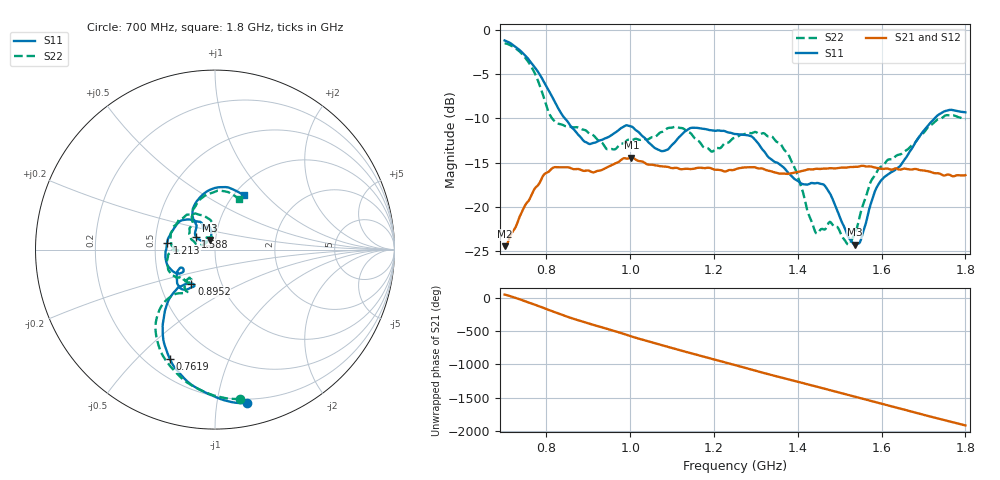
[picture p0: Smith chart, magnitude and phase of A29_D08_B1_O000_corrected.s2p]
! Created with skrf 1.9.0 (http://scikit-rf.org).
# Hz S RI R 50.0
!freq ReS11 ImS11 ReS21 ImS21 ReS12 ImS12 ReS22 ImS22
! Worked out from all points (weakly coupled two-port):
!   1601 points, 700 MHz to 1.8 GHz, reference 50 ohm
!   highest |S21| = -14.44 dB at 1.002 GHz (marker M1); lowest = -24.5 dB at 700 MHz (marker M2)
!   lowest |S11| = -24.3 dB at 1.536 GHz (marker M3), VSWR 1.13, Z = 46.9 + j5.02 ohm
!   |S11| at or under -10 dB: 843.9 MHz to 1.726 GHz (882.3 MHz wide, 68.7 % of centre)
!   |S22| runs from -24.3 to -1.5 dB; largest |S21 - S12| = 0.0036
!   S11 on the Smith chart (normalised r, x): 700 MHz: 0.17, -1.21; 761.9 MHz: 0.29, -0.63; 895.2 MHz: 0.72, -0.29; 1.213 GHz: 0.58, +0.05; 1.588 GHz: 0.80, +0.12; 1.8 GHz: 1.11, +0.76
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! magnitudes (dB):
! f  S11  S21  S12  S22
! 700 MHz  -1.2  -24.5  -24.2  -1.5
! 761.9 MHz  -3.6  -18.9  -18.9  -4.0
! 814.8 MHz  -7.7  -15.6  -15.7  -10.1
! 883.6 MHz  -12.2  -15.9  -15.8  -11.2
! 895.2 MHz  -12.7  -15.9  -16.0  -11.4
! 947.5 MHz  -12.1  -15.5  -15.5  -13.5
! 1.002 GHz  -10.9  -14.4  -14.5  -12.5
! 1.067 GHz  -13.6  -15.4  -15.3  -11.8
! 1.144 GHz  -11.1  -15.7  -15.7  -11.7
! 1.213 GHz  -11.4  -15.8  -15.8  -13.4
! 1.25 GHz  -11.8  -15.8  -15.7  -12.2
! 1.359 GHz  -15.3  -16.3  -16.2  -12.9
! 1.394 GHz  -16.9  -16.1  -16.1  -15.8
! 1.434 GHz  -17.3  -15.8  -15.8  -21.8
! 1.469 GHz  -18.0  -15.7  -15.7  -22.2
! 1.52 GHz  -23.4  -15.5  -15.5  -24.3
! 1.536 GHz  -24.3  -15.5  -15.5  -23.1
! 1.551 GHz  -23.7  -15.4  -15.4  -20.5
! 1.588 GHz  -17.8  -15.6  -15.6  -16.1
! 1.617 GHz  -16.3  -15.7  -15.7  -14.6
! 1.735 GHz  -9.6  -16.2  -16.3  -10.1
! 1.8 GHz  -9.3  -16.4  -16.4  -10.1
